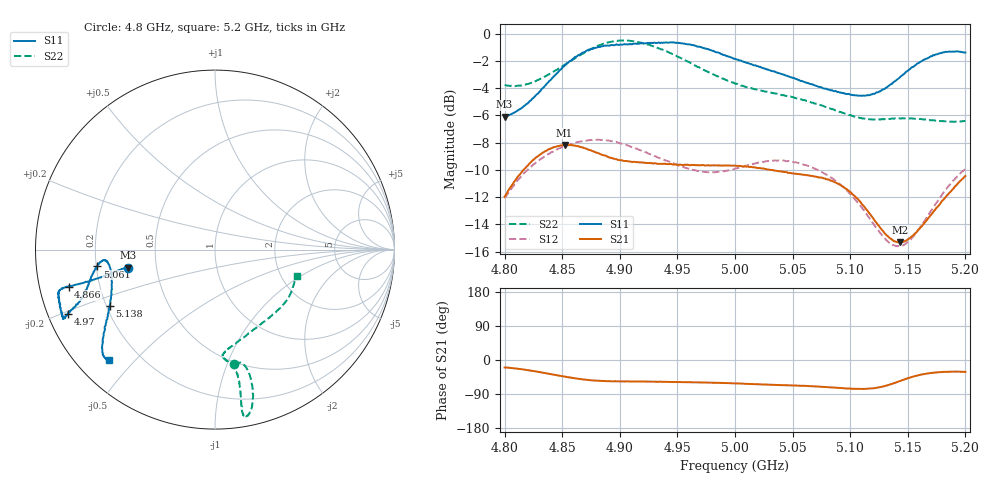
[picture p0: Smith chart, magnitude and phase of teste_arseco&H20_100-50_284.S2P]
! Network Analyzer HP8722D
! Hewlett-Packard
! Data name: Linha & Wilkinson
! Saver's name: Rodrigo Anjos
! Comments: Teste da utilização de aquisição
! continua pelo VNA HP8722D
! Time and date: 6/5/2025 14:56
!  Frequency  S11  S21  S12  S22
# HZ  S  MA R 50
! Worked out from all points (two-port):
!   401 points, 4.8 GHz to 5.2 GHz, reference 50 ohm
!   highest |S21| = -8.17 dB at 4.852 GHz (marker M1); lowest = -15.3 dB at 5.143 GHz (marker M2)
!   |S21| within 3 dB of the highest: 4.806 GHz to 5.093 GHz (286.6 MHz wide, 5.79 % of centre); 5.191554 GHz to end of sweep
!   lowest |S11| = -6.1 dB at 4.8 GHz (marker M3), VSWR 2.97, Z = 17 - j4.58 ohm
!   |S11| at or under -10 dB: nowhere
!   |S22| runs from -6.5 to -0.5 dB; largest |S21 - S12| = 0.62
!   S11 on the Smith chart (normalised r, x): 4.8 GHz: 0.34, -0.09; 4.866 GHz: 0.09, -0.12; 4.97 GHz: 0.06, -0.21; 5.061 GHz: 0.20, -0.07; 5.138 GHz: 0.21, -0.24; 5.2 GHz: 0.09, -0.43
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4.8e9  0.4964 -168.2  0.2521 -19.7  0.2486 -140.9  0.6482 -80.4
4.825e9  0.5812 -167.4  0.3446 -29.1  0.3313 -144.3  0.6653 -75.6
4.852e9  0.7624 -165.8  0.3904 -43.8  0.3861 -149.4  0.7688 -74.6
4.866e9  0.8418 -165.8  0.3831 -50.3  0.4021 -151.8  0.8365 -75.3
4.867e9  0.8489 -166.0  0.383 -50.8  0.4027 -152.0  0.8427 -75.4
4.885e9  0.9007 -165.1  0.3586 -55.2  0.4076 -155.0  0.9174 -77.4
4.901e9  0.9137 -162.3  0.3435 -56.4  0.3957 -156.8  0.9452 -79.3
4.934e9  0.9294 -156.4  0.3328 -57.5  0.3501 -155.5  0.8834 -80.5
4.97e9  0.8936 -156.5  0.3292 -59.2  0.3125 -147.0  0.7472 -79.6
5e9  0.809 -159.0  0.3275 -61.8  0.3199 -137.2  0.6565 -81.3
5.036e9  0.7213 -165.6  0.3136 -65.9  0.3419 -134.4  0.6029 -85.6
5.061e9  0.6633 -171.8  0.3031 -68.2  0.3294 -136.2  0.5705 -83.8
5.067e9  0.6516 -173.1  0.3006 -69.1  0.3227 -136.8  0.5581 -82.6
5.083e9  0.6192 -174.5  0.2885 -72.2  0.2968 -138.2  0.5306 -76.8
5.101e9  0.5966 -172.2  0.2603 -75.7  0.2556 -138.8  0.5016 -66.5
5.116e9  0.5948 -165.4  0.2209 -75.8  0.2126 -135.5  0.4855 -55.7
5.134e9  0.6463 -154.2  0.1782 -65.3  0.1705 -120.8  0.4864 -43.2
5.138e9  0.6663 -151.8  0.173 -61.1  0.1671 -115.5  0.4872 -40.7
5.143e9  0.6906 -149.3  0.1711 -55.8  0.1659 -108.9  0.4892 -37.9
5.154e9  0.7553 -144.5  0.1811 -44.4  0.1787 -95.0  0.4883 -32.3
5.172e9  0.8348 -139.0  0.221 -33.5  0.2297 -81.1  0.4812 -24.5
5.2e9  0.8533 -133.6  0.3004 -31.4  0.3195 -76.9  0.4779 -17.6
